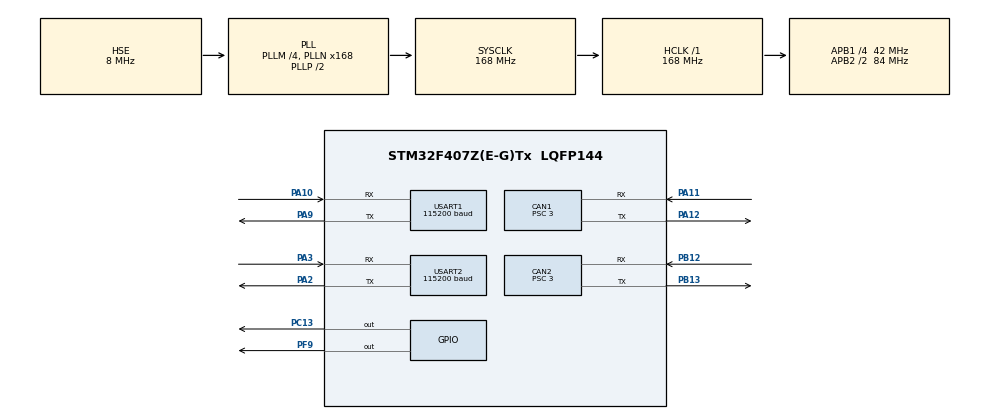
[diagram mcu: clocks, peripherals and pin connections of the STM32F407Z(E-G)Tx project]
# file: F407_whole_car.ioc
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CAN1.BS1=CAN_BS1_12TQ
CAN1.CalculateBaudRate=1000000
CAN1.CalculateTimeBit=1000
CAN1.CalculateTimeQuantum=71.42857142857143
CAN1.AutoBusOff=ENABLE
CAN1.AutoRetransmission=ENABLE
CAN1.Prescaler=3
CAN2.BS1=CAN_BS1_12TQ
CAN2.CalculateBaudRate=1000000
CAN2.CalculateTimeBit=1000
CAN2.CalculateTimeQuantum=71.42857142857143
CAN2.AutoBusOff=ENABLE
CAN2.AutoRetransmission=ENABLE
CAN2.Prescaler=3
Mcu.Family=STM32F4
Mcu.Name=STM32F407Z(E-G)Tx
Mcu.Package=LQFP144
NVIC.CAN1_RX0_IRQn=true\:0\:0\:true\:false\:true\:true\:true\:true
NVIC.CAN1_RX1_IRQn=true\:0\:0\:false\:false\:true\:true\:true\:true
NVIC.CAN1_SCE_IRQn=true\:0\:0\:false\:false\:true\:true\:true\:true
NVIC.CAN1_TX_IRQn=true\:0\:0\:false\:false\:true\:true\:true\:true
NVIC.CAN2_RX0_IRQn=true\:0\:0\:false\:false\:true\:true\:true\:true
NVIC.CAN2_TX_IRQn=true\:0\:0\:false\:false\:true\:true\:true\:true
NVIC.PriorityGroup=NVIC_PRIORITYGROUP_4
NVIC.TIM2_IRQn=true\:0\:0\:false\:false\:true\:true\:true\:true
NVIC.TIM3_IRQn=true\:0\:0\:false\:false\:true\:true\:true\:true
NVIC.TIM4_IRQn=true\:0\:0\:false\:false\:true\:true\:true\:true
NVIC.TIM5_IRQn=true\:0\:0\:false\:false\:true\:true\:true\:true
NVIC.USART1_IRQn=true\:0\:0\:true\:false\:true\:true\:true\:true
NVIC.USART2_IRQn=true\:0\:0\:false\:false\:true\:true\:true\:true
PA10.Mode=Asynchronous
PA10.Signal=USART1_RX
PA11.Mode=CAN_Activate
PA11.Signal=CAN1_RX
PA12.Mode=CAN_Activate
PA12.Signal=CAN1_TX
PA13.Mode=Serial_Wire
PA13.Signal=SYS_JTMS-SWDIO
PA14.Mode=Serial_Wire
PA14.Signal=SYS_JTCK-SWCLK
PA2.Mode=Asynchronous
PA2.Signal=USART2_TX
PA3.Mode=Asynchronous
PA3.Signal=USART2_RX
PA9.Mode=Asynchronous
PA9.Signal=USART1_TX
PB12.Mode=CAN_Activate
PB12.Signal=CAN2_RX
PB13.Mode=CAN_Activate
PB13.Signal=CAN2_TX
PC13-ANTI_TAMP.Signal=GPIO_Output
PF9.GPIO_PuPd=GPIO_PULLUP
PF9.Signal=GPIO_Output
PH0-OSC_IN.Mode=HSE-External-Oscillator
PH0-OSC_IN.Signal=RCC_OSC_IN
PH1-OSC_OUT.Mode=HSE-External-Oscillator
PH1-OSC_OUT.Signal=RCC_OSC_OUT
ProjectManager.HeapSize=0x200
ProjectManager.StackSize=0x400
ProjectManager.TargetToolchain=MDK-ARM V5.32
RCC.48MHZClocksFreq_Value=84000000
RCC.AHBFreq_Value=168000000
RCC.APB1CLKDivider=RCC_HCLK_DIV4
RCC.APB1Freq_Value=42000000
RCC.APB1TimFreq_Value=84000000
RCC.APB2CLKDivider=RCC_HCLK_DIV2
RCC.APB2Freq_Value=84000000
RCC.APB2TimFreq_Value=168000000
RCC.CortexFreq_Value=168000000
RCC.HCLKFreq_Value=168000000
RCC.HSE_VALUE=8000000
RCC.HSI_VALUE=16000000
RCC.LSE_VALUE=32768
RCC.PLLM=4
RCC.PLLN=168
RCC.PLLSourceVirtual=RCC_PLLSOURCE_HSE
RCC.SYSCLKFreq_VALUE=168000000
RCC.SYSCLKSource=RCC_SYSCLKSOURCE_PLLCLK
RCC.VCOOutputFreq_Value=336000000
TIM2.Period=999
TIM2.Prescaler=83
TIM3.Period=1999
TIM3.Prescaler=8399
TIM4.Period=2499
TIM4.Prescaler=8399
TIM5.Period=2699
TIM5.Prescaler=8399
USART1.BaudRate=115200
USART1.VirtualMode=VM_ASYNC
USART2.BaudRate=115200
USART2.VirtualMode=VM_ASYNC
VP_TIM2_VS_ClockSourceINT.Mode=Internal
VP_TIM3_VS_ClockSourceINT.Mode=Internal
VP_TIM4_VS_ClockSourceINT.Mode=Internal
VP_TIM5_VS_ClockSourceINT.Mode=Internal
board=custom

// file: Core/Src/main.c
/* USER CODE BEGIN Header */
/**
  ******************************************************************************
  * @file           : main.c
  * @brief          : Main program body
  ******************************************************************************
  * @attention
  *
  * Copyright (c) 2025 STMicroelectronics.
  * All rights reserved.
  *
  * This software is licensed under terms that can be found in the LICENSE file
  * in the root directory of this software component.
  * If no LICENSE file comes with this software, it is provided AS-IS.
  *
  ******************************************************************************
  */
/* USER CODE END Header */
#include "main.h"
#include "can.h"
#include "tim.h"
#include "usart.h"
#include "gpio.h"

/* USER CODE BEGIN Includes */
#include "include.h"
/* USER CODE END Includes */

/* USER CODE BEGIN PTD */
//extern uint8_t qigang_flag;
/* USER CODE END PTD */

void SystemClock_Config(void);

int main(void)
{

  /* MCU Configuration--------------------------------------------------------*/

  /* Reset of all peripherals, Initializes the Flash interface and the Systick. */
  HAL_Init();

  /* Configure the system clock */
  SystemClock_Config();

  /* Initialize all configured peripherals */
  MX_GPIO_Init();
  MX_CAN1_Init();
  MX_CAN2_Init();
  MX_USART1_UART_Init();
  MX_TIM2_Init();
  MX_USART2_UART_Init();
  MX_TIM3_Init();
  MX_TIM4_Init();
  MX_TIM5_Init();
  /* USER CODE BEGIN 2 */

  user_init();

  /* USER CODE END 2 */

  /* Infinite loop */
  /* USER CODE BEGIN WHILE */

//  set_vl_omega(vl_omega,0);
//  set_velocity(&tool_v,receive_data[0],receive_data[1]);
//  set_vl_wheel(vl_wheel_ave,tool_v,0,0);
	while(1)
	{
		static uint8_t time_count=0;

		if(time_up)
		{
			time_up=0;
			CAN1_BeginCycle();
			get_rnd_count_and_diaplacement();
			robot_control_service();
			if(change_mode_flag) control_mode_changed();

			switch (run_mode)
			{

				case CHASSIS_SPEED_LOCAL:
				{
					local_velocity_mode_run();

				}break;

				case CHASSIS_POSITION_WORLD:
				{

					world_displacement_mode_run();

				}break;
				default:{chassis_stop();}break;

			}

			delta_control();
			(void)CAN1_Flush();
			//*****************************
			msg_control();
			++time_count;
			if(time_count==5) hwt605_request_yaw();
			if(time_count==10){
				hwt605_request_omega();
				time_count=0;
			}
		}
    /* USER CODE END WHILE */

	}
}

void SystemClock_Config(void)
{
  RCC_OscInitTypeDef RCC_OscInitStruct = {0};
  RCC_ClkInitTypeDef RCC_ClkInitStruct = {0};

  /** Configure the main internal regulator output voltage
  */
  __HAL_RCC_PWR_CLK_ENABLE();
  __HAL_PWR_VOLTAGESCALING_CONFIG(PWR_REGULATOR_VOLTAGE_SCALE1);

  /** Initializes the RCC Oscillators according to the specified parameters
  * in the RCC_OscInitTypeDef structure.
  */
  RCC_OscInitStruct.OscillatorType = RCC_OSCILLATORTYPE_HSE;
  RCC_OscInitStruct.HSEState = RCC_HSE_ON;
  RCC_OscInitStruct.PLL.PLLState = RCC_PLL_ON;
  RCC_OscInitStruct.PLL.PLLSource = RCC_PLLSOURCE_HSE;
  RCC_OscInitStruct.PLL.PLLM = 4;
  RCC_OscInitStruct.PLL.PLLN = 168;
  RCC_OscInitStruct.PLL.PLLP = RCC_PLLP_DIV2;
  RCC_OscInitStruct.PLL.PLLQ = 4;
  if (HAL_RCC_OscConfig(&RCC_OscInitStruct) != HAL_OK)
  {
    Error_Handler();
  }

  /** Initializes the CPU, AHB and APB buses clocks
  */
  RCC_ClkInitStruct.ClockType = RCC_CLOCKTYPE_HCLK|RCC_CLOCKTYPE_SYSCLK
                              |RCC_CLOCKTYPE_PCLK1|RCC_CLOCKTYPE_PCLK2;
  RCC_ClkInitStruct.SYSCLKSource = RCC_SYSCLKSOURCE_PLLCLK;
  RCC_ClkInitStruct.AHBCLKDivider = RCC_SYSCLK_DIV1;
  RCC_ClkInitStruct.APB1CLKDivider = RCC_HCLK_DIV4;
  RCC_ClkInitStruct.APB2CLKDivider = RCC_HCLK_DIV2;

  if (HAL_RCC_ClockConfig(&RCC_ClkInitStruct, FLASH_LATENCY_5) != HAL_OK)
  {
    Error_Handler();
  }
}

void Error_Handler(void)
{
  __disable_irq();
  while (1)
  {
  }
}
